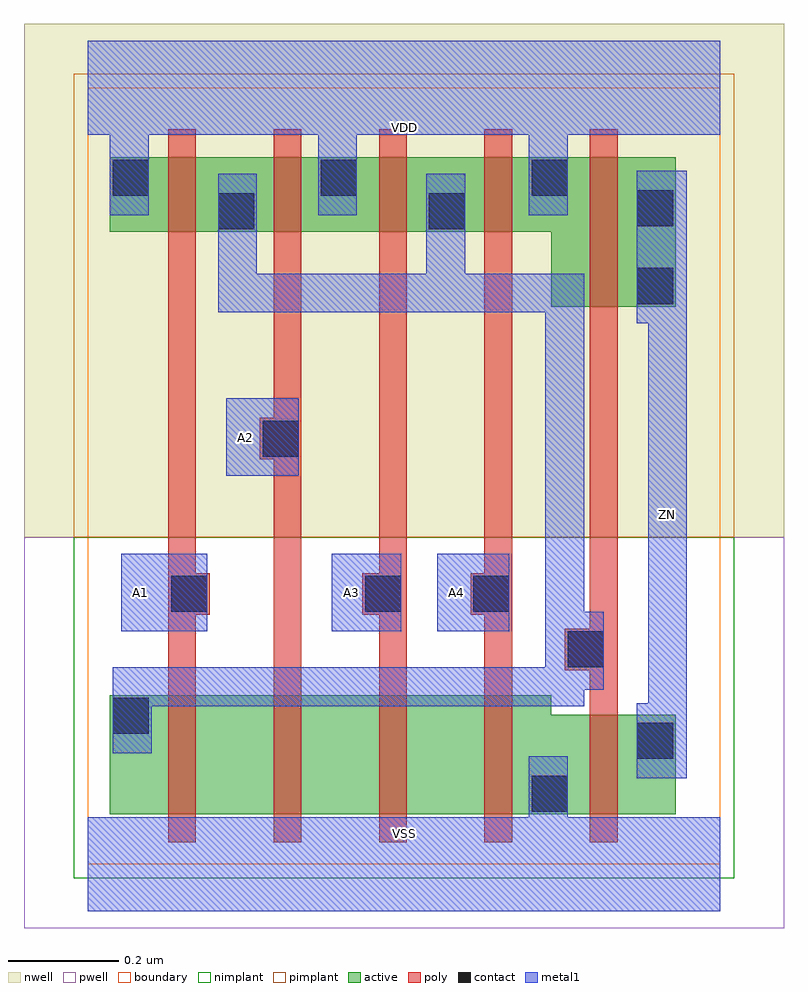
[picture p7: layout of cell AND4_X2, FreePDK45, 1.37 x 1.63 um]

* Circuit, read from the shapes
.subckt AND4_X2 A1 A2 A3 A4 VDD VSS ZN
M1 n1 A1 n2 VSUBS nfet w=0.215u l=0.05u
M2 n3 A2 n1 VSUBS nfet w=0.215u l=0.05u
M3 n4 A3 n3 VSUBS nfet w=0.215u l=0.05u
M4 VSS A4 n4 VSUBS nfet w=0.215u l=0.05u
M5 ZN n2 VSS VSUBS nfet w=0.18u l=0.05u
M6 n2 A1 VDD n5 pfet w=0.135u l=0.05u
M7 VDD A2 n2 n5 pfet w=0.135u l=0.05u
M8 n2 A3 VDD n5 pfet w=0.135u l=0.05u
M9 VDD A4 n2 n5 pfet w=0.135u l=0.05u
M10 ZN n2 VDD n5 pfet w=0.27u l=0.05u
.ends

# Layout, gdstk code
import gdstk
lib = gdstk.Library(unit=1e-6, precision=1e-10)
def R(c, l, rs):  # rectangles x0, y0, x1, y1
    for r in rs: c.add(gdstk.rectangle(r[:2], r[2:], *l))
def P(c, l, *ps):  # polygons
    for p in ps: c.add(gdstk.Polygon(p, *l))
active = (1, 0)
pwell = (2, 0)
nwell = (3, 0)
nimplant = (4, 0)
pimplant = (5, 0)
poly = (9, 0)
contact = (10, 0)
metal1 = (11, 0)
boundary = (235, 0)

and4_x2 = lib.new_cell('AND4_X2')
P(and4_x2, active, [(0.04,0.09),(1.06,0.09),(1.06,0.27),(0.835,0.27),(0.835,0.305),(0.04,0.305)],
  [(0.04,1.14),(0.835,1.14),(0.835,1.005),(1.06,1.005),(1.06,1.275),(0.04,1.275)])
R(and4_x2, pwell, [(-0.115,-0.115,1.255,0.59)])
R(and4_x2, nwell, [(-0.115,0.59,1.255,1.515)])
R(and4_x2, nimplant, [(-0.025,-0.025,1.165,0.59)])
R(and4_x2, pimplant, [(-0.025,0.59,1.165,1.425)])
P(and4_x2, poly, [(0.145,0.04),(0.195,0.04),(0.195,0.45),(0.22,0.45),(0.22,0.525),(0.195,0.525),(0.195,1.325),(0.145,1.325)],
  [(0.31,0.73),(0.335,0.73),(0.335,0.04),(0.385,0.04),(0.385,1.325),(0.335,1.325),(0.335,0.805),(0.31,0.805)],
  [(0.495,0.45),(0.525,0.45),(0.525,0.04),(0.575,0.04),(0.575,1.325),(0.525,1.325),(0.525,0.525),(0.495,0.525)],
  [(0.69,0.45),(0.715,0.45),(0.715,0.04),(0.765,0.04),(0.765,1.325),(0.715,1.325),(0.715,0.525),(0.69,0.525)],
  [(0.86,0.35),(0.905,0.35),(0.905,0.04),(0.955,0.04),(0.955,1.325),(0.905,1.325),(0.905,0.425),(0.86,0.425)])
R(and4_x2, contact, [(0.8,0.095,0.865,0.16), (0.99,0.19,1.055,0.255), (0.045,0.235,0.11,0.3), (0.865,0.355,0.93,0.42), (0.15,0.455,0.215,0.52), (0.5,0.455,0.565,0.52), (0.695,0.455,0.76,0.52), (0.315,0.735,0.38,0.8), (0.99,1.01,1.055,1.075), (0.235,1.145,0.3,1.21), (0.615,1.145,0.68,1.21), (0.99,1.15,1.055,1.215), (0.045,1.205,0.11,1.27), (0.42,1.205,0.485,1.27), (0.8,1.205,0.865,1.27)])
R(and4_x2, metal1, [(0.06,0.42,0.215,0.56), (0.44,0.42,0.565,0.56), (0.63,0.42,0.76,0.56), (0.25,0.7,0.38,0.84)])
P(and4_x2, metal1, [(0.235,0.995),(0.825,0.995),(0.825,0.355),(0.045,0.355),(0.045,0.2),(0.115,0.2),(0.115,0.285),(0.895,0.285),(0.895,0.315),(0.93,0.315),(0.93,0.455),(0.895,0.455),(0.895,1.065),(0.68,1.065),(0.68,1.245),(0.61,1.245),(0.61,1.065),(0.305,1.065),(0.305,1.245),(0.235,1.245)],
  [(0.99,0.975),(1.01,0.975),(1.01,0.29),(0.99,0.29),(0.99,0.155),(1.08,0.155),(1.08,1.25),(0.99,1.25)],
  [(0,-0.085),(1.14,-0.085),(1.14,0.085),(0.865,0.085),(0.865,0.195),(0.795,0.195),(0.795,0.085),(0,0.085)],
  [(0,1.315),(0.04,1.315),(0.04,1.17),(0.11,1.17),(0.11,1.315),(0.415,1.315),(0.415,1.17),(0.485,1.17),(0.485,1.315),(0.795,1.315),(0.795,1.17),(0.865,1.17),(0.865,1.315),(1.14,1.315),(1.14,1.485),(0,1.485)])
R(and4_x2, boundary, [(0,0,1.14,1.4)])
and4_x2.add(gdstk.Label('A1', (0.095,0.49), layer=11, texttype=0))
and4_x2.add(gdstk.Label('A2', (0.285,0.77), layer=11, texttype=0))
and4_x2.add(gdstk.Label('A3', (0.475,0.49), layer=11, texttype=0))
and4_x2.add(gdstk.Label('A4', (0.665,0.49), layer=11, texttype=0))
and4_x2.add(gdstk.Label('VDD', (0.57,1.3275), layer=11, texttype=0))
and4_x2.add(gdstk.Label('VSS', (0.57,0.055), layer=11, texttype=0))
and4_x2.add(gdstk.Label('ZN', (1.045,0.63), layer=11, texttype=0))

lib.write_gds('AND4_X2.gds')
